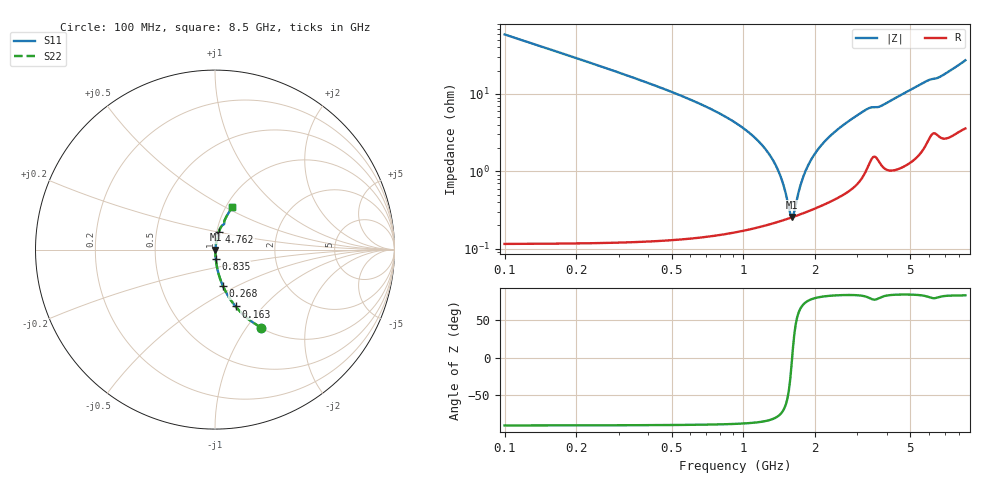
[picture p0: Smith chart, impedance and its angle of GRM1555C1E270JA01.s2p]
!Murata Part Number: GRM1555C1E270JA01
!These Parameters are Measured in Series Mode Connection
!Data Generated on Mar 30, 2021
!  o--ll--o
!Port1  Port2
!  o------o
!Operation Temp=25[degC], DC Bias Voltage=0[V]
!Freq. Start=100[MHz] Stop=9[GHz] 401[Steps]
# Hz S RI R 50
!Freq.(Hz) S11(Real) S11(Imag) S21(Real) S21(Imag) S12(Real) S12(Imag) S22(Real) S22(Imag)
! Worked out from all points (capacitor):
!   401 points, 100 MHz to 8.5 GHz, reference 50 ohm
!   read as one part in series: C = 27 pF near 142 MHz
!   lowest |Z| = 257 mohm at 1.591 GHz (marker M1)
!   series resonance near 1.6 GHz, so ESL is about 370 pH
!   S11 on the Smith chart (normalised r, x): 100 MHz: 1.00, -1.17; 163 MHz: 1.00, -0.72; 268 MHz: 1.00, -0.43; 835 MHz: 1.00, -0.10; 4.762 GHz: 1.02, +0.21; 8.5 GHz: 1.07, +0.54
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1e8  0.2568 -0.4359  0.7432 0.4359  0.7432 0.4359  0.2568 -0.4359
1.63e8  0.1144 -0.3166  0.8856 0.3166  0.8856 0.3166  0.1144 -0.3166
2.68e8  0.0448 -0.204  0.9552 0.204  0.9552 0.204  0.0448 -0.204
4.78e8  0.0137 -0.1107  0.9863 0.1107  0.9863 0.1107  0.0137 -0.1107
8.35e8  0.00417 -0.0512  0.9958 0.0512  0.9958 0.0512  0.00417 -0.0512
1.276e9  0.00233 -0.0168  0.9977 0.0168  0.9977 0.0168  0.00233 -0.0168
1.402e9  0.00233 -0.00977  0.9977 0.00977  0.9977 0.00977  0.00233 -0.00977
1.507e9  0.00241 -0.00441  0.9976 0.00441  0.9976 0.00441  0.00241 -0.00441
1.549e9  0.00247 -0.00238  0.9975 0.00238  0.9975 0.00238  0.00247 -0.00238
1.591e9  0.00253 -0.000394  0.9975 0.000394  0.9975 0.000394  0.00253 -0.000394
1.633e9  0.00261 0.00154  0.9974 -0.00154  0.9974 -0.00154  0.00261 0.00154
1.717e9  0.00278 0.00527  0.9972 -0.00527  0.9972 -0.00527  0.00278 0.00527
1.801e9  0.00299 0.00884  0.997 -0.00884  0.997 -0.00884  0.00299 0.00884
2.011e9  0.00363 0.0172  0.9964 -0.0172  0.9964 -0.0172  0.00363 0.0172
2.368e9  0.00511 0.0303  0.9949 -0.0303  0.9949 -0.0303  0.00511 0.0303
2.914e9  0.00868 0.049  0.9913 -0.049  0.9913 -0.049  0.00868 0.049
3.334e9  0.0156 0.0623  0.9844 -0.0623  0.9844 -0.0623  0.0156 0.0623
4.3e9  0.0176 0.0848  0.9824 -0.0848  0.9824 -0.0848  0.0176 0.0848
4.762e9  0.0219 0.0999  0.9781 -0.0999  0.9781 -0.0999  0.0219 0.0999
5.707e9  0.0376 0.1318  0.9624 -0.1318  0.9624 -0.1318  0.0376 0.1318
7.114e9  0.0572 0.1714  0.9428 -0.1714  0.9428 -0.1714  0.0572 0.1714
8.5e9  0.0961 0.2358  0.9039 -0.2358  0.9039 -0.2358  0.0961 0.2358
